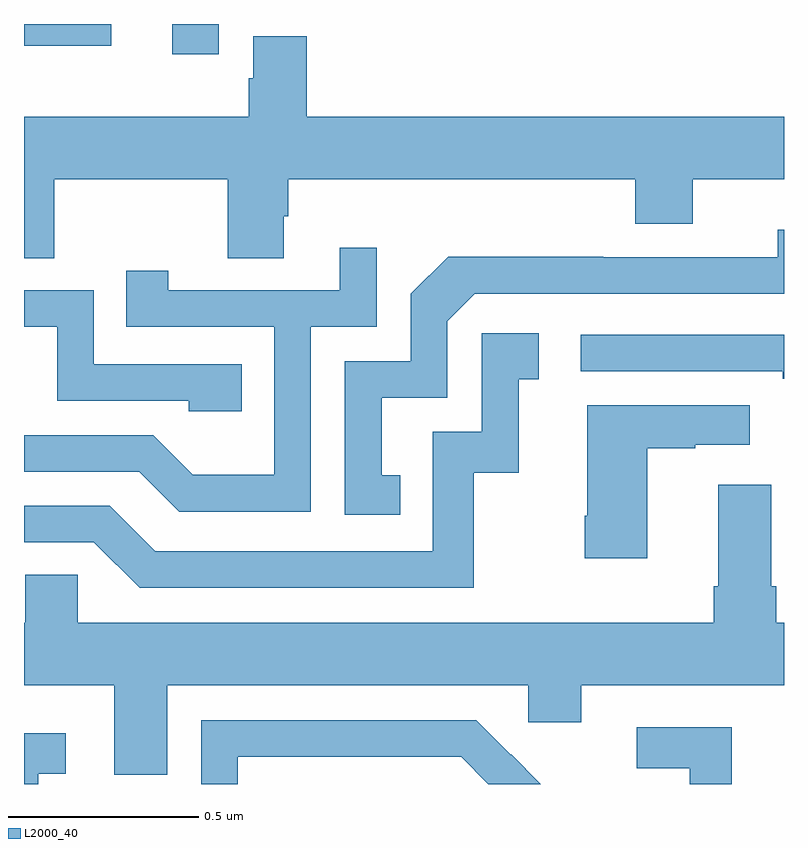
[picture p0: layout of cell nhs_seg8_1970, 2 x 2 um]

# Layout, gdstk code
import gdstk
lib = gdstk.Library(unit=1e-6, precision=1e-09)
def R(c, l, rs):  # rectangles x0, y0, x1, y1
    for r in rs: c.add(gdstk.rectangle(r[:2], r[2:], *l))
def P(c, l, *ps):  # polygons
    for p in ps: c.add(gdstk.Polygon(p, *l))
L2000_40 = (2000, 40)

nhs_seg8_1970 = lib.new_cell('nhs_seg8_1970')
R(nhs_seg8_1970, L2000_40, [(137.39,1124.82,137.512,1124.9), (137,1124.843,137.23,1124.9)])
P(nhs_seg8_1970, L2000_40, [(137.079,1124.492),(137.536,1124.492),(137.536,1124.284),(137.683,1124.284),(137.683,1124.394),(137.696,1124.394),(137.696,1124.492),(138.608,1124.492),(138.608,1124.375),(138.76,1124.375),(138.76,1124.492),(139,1124.492),(139,1124.656),(137.744,1124.656),(137.744,1124.868),(137.603,1124.868),(137.603,1124.757),(137.591,1124.757),(137.591,1124.656),(137,1124.656),(137,1124.284),(137.079,1124.284)],
  [(137.99,1123.713),(137.941,1123.713),(137.941,1123.917),(138.114,1123.917),(138.114,1124.118),(138.186,1124.19),(139,1124.19),(139,1124.359),(138.984,1124.359),(138.984,1124.286),(138.524,1124.286),(138.524,1124.288),(138.116,1124.288),(138.018,1124.19),(138.018,1124.013),(137.844,1124.013),(137.844,1123.608),(137.99,1123.608)],
  [(137.754,1124.103),(137.928,1124.103),(137.928,1124.311),(137.831,1124.311),(137.831,1124.199),(137.38,1124.199),(137.38,1124.251),(137.269,1124.251),(137.269,1124.103),(137.658,1124.103),(137.658,1123.714),(137.444,1123.714),(137.34,1123.818),(137,1123.818),(137,1123.722),(137.303,1123.722),(137.408,1123.617),(137.754,1123.617)],
  [(137.573,1124.004),(137.184,1124.004),(137.184,1124.199),(137,1124.199),(137,1124.103),(137.088,1124.103),(137.088,1123.908),(137.433,1123.908),(137.433,1123.881),(137.573,1123.881)],
  [(138.184,1123.719),(138.302,1123.719),(138.302,1123.965),(138.355,1123.965),(138.355,1124.086),(138.204,1124.086),(138.204,1123.827),(138.075,1123.827),(138.075,1123.512),(137.346,1123.512),(137.226,1123.632),(137,1123.632),(137,1123.536),(137.184,1123.536),(137.304,1123.416),(138.184,1123.416)],
  [(139,1124.082),(138.465,1124.082),(138.465,1123.986),(138.997,1123.986),(138.997,1123.966),(139,1123.966)],
  [(138.64,1123.783),(138.767,1123.783),(138.767,1123.793),(138.91,1123.793),(138.91,1123.897),(138.482,1123.897),(138.482,1123.606),(138.475,1123.606),(138.475,1123.494),(138.64,1123.494)],
  [(137.377,1123.16),(138.327,1123.16),(138.327,1123.062),(138.466,1123.062),(138.466,1123.16),(139,1123.16),(139,1123.324),(138.98,1123.324),(138.98,1123.42),(138.967,1123.42),(138.967,1123.687),(138.827,1123.687),(138.827,1123.42),(138.815,1123.42),(138.815,1123.324),(137.142,1123.324),(137.142,1123.451),(137.003,1123.451),(137.003,1123.324),(137,1123.324),(137,1123.16),(137.237,1123.16),(137.237,1122.925),(137.377,1122.925)],
  [(137.563,1122.972),(138.151,1122.972),(138.222,1122.9),(138.36,1122.9),(138.282,1122.978),(138.281,1122.977),(138.19,1123.068),(137.466,1123.068),(137.466,1122.9),(137.563,1122.9)],
  [(138.862,1123.05),(138.612,1123.05),(138.612,1122.942),(138.752,1122.942),(138.752,1122.9),(138.862,1122.9)],
  [(137.037,1122.927),(137.11,1122.927),(137.11,1123.033),(137,1123.033),(137,1122.9),(137.037,1122.9)])

lib.write_gds('nhs_seg8_1970.gds')
